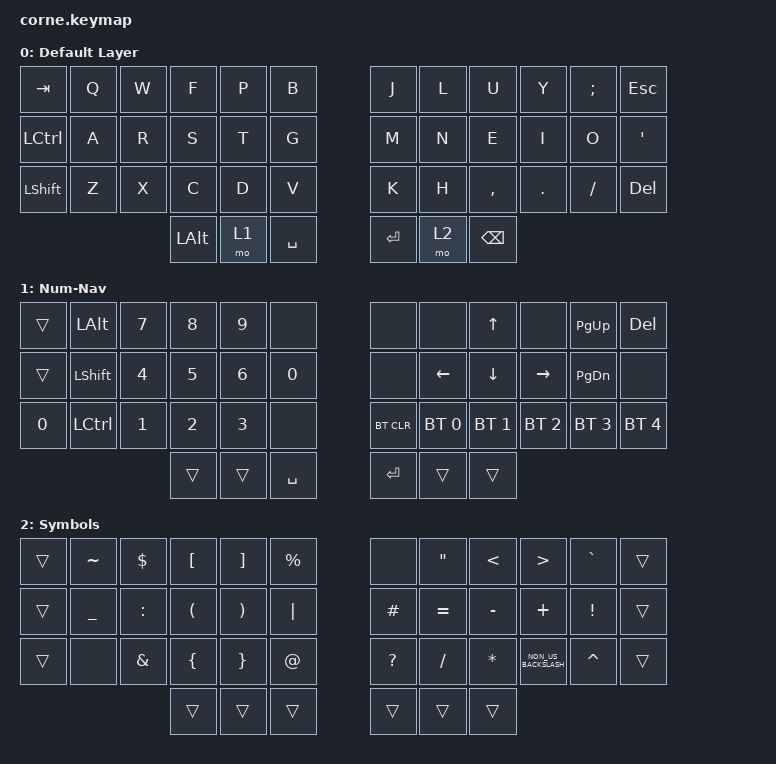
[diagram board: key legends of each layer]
/*
 * Copyright (c) 2020 The ZMK Contributors
 *
 * SPDX-License-Identifier: MIT
 */

#include <behaviors.dtsi>
#include <dt-bindings/zmk/bt.h>
#include <dt-bindings/zmk/keys.h>

/ {
    keymap {
        compatible = "zmk,keymap";

        default_layer {
            display-name = "Default Layer";

            // -----------------------------------------------------------------------------------------
            // |  TAB |  Q  |  W  |  E  |  R  |  T  |   |  Y  |  U   |  I  |  O  |  P  | BSPC |
            // | CTRL |  A  |  S  |  D  |  F  |  G  |   |  H  |  J   |  K  |  L  |  ;  |  '   |
            // | SHFT |  Z  |  X  |  C  |  V  |  B  |   |  N  |  M   |  ,  |  .  |  /  | ESC  |
            //                    | GUI | LWR | SPC |   | ENT | RSE  | ALT |

            bindings = <
&kp TAB    &kp Q  &kp W  &kp F         &kp P  &kp B        &kp J    &kp L  &kp U          &kp Y       &kp SEMICOLON  &kp ESCAPE
&kp LCTRL  &kp A  &kp R  &kp S         &kp T  &kp G        &kp M    &kp N  &kp E          &kp I       &kp O          &kp SQT
&kp LSHFT  &kp Z  &kp X  &kp C         &kp D  &kp V        &kp K    &kp H  &kp COMMA      &kp PERIOD  &kp SLASH      &kp DEL
                         &kp LEFT_ALT  &mo 1  &kp SPACE    &kp RET  &mo 2  &kp BACKSPACE
            >;
        };

        lower_layer {
            display-name = "Num-Nav";

            // -----------------------------------------------------------------------------------------
            // |  TAB |  1  |  2  |  3  |  4  |  5  |   |  6  |  7  |  8  |  9  |  0  | BSPC |
            // | BTCLR| BT1 | BT2 | BT3 | BT4 | BT5 |   | LFT | DWN |  UP | RGT |     |      |
            // | SHFT |     |     |     |     |     |   |     |     |     |     |     |      |
            //                    | GUI |     | SPC |   | ENT |     | ALT |

            bindings = <
&trans        &kp LEFT_ALT    &kp NUMBER_7  &kp NUMBER_8  &kp NUMBER_9  &none           &none       &none           &kp UP_ARROW    &none         &kp PAGE_UP    &kp DELETE
&trans        &kp LEFT_SHIFT  &kp NUMBER_4  &kp NUMBER_5  &kp NUMBER_6  &kp NUMBER_0    &none       &kp LEFT_ARROW  &kp DOWN_ARROW  &kp RIGHT     &kp PAGE_DOWN  &none
&kp NUMBER_0  &kp LCTRL       &kp NUMBER_1  &kp NUMBER_2  &kp NUMBER_3  &none           &bt BT_CLR  &bt BT_SEL 0    &bt BT_SEL 1    &bt BT_SEL 2  &bt BT_SEL 3   &bt BT_SEL 4
                                            &trans        &trans        &kp SPACE       &kp RET     &trans          &trans
            >;
        };

        raise_layer {
            display-name = "Symbols";

            // -----------------------------------------------------------------------------------------
            // |  TAB |  !  |  @  |  #  |  $  |  %  |   |  ^  |  &  |  *  |  (  |  )  | BSPC |
            // | CTRL |     |     |     |     |     |   |  -  |  =  |  [  |  ]  |  \  |  `   |
            // | SHFT |     |     |     |     |     |   |  _  |  +  |  {  |  }  | "|" |  ~   |
            //                    | GUI |     | SPC |   | ENT |     | ALT |

            bindings = <
&trans  &kp TILDE       &kp DOLLAR     &kp LEFT_BRACKET      &kp RIGHT_BRACKET      &kp PRCNT      &none         &kp DOUBLE_QUOTES  &kp LESS_THAN  &kp GREATER_THAN      &kp GRAVE        &trans
&trans  &kp UNDERSCORE  &kp COLON      &kp LEFT_PARENTHESIS  &kp RIGHT_PARENTHESIS  &kp PIPE       &kp HASH      &kp EQUAL          &kp MINUS      &kp PLUS              &kp EXCLAMATION  &trans
&trans  &none           &kp AMPERSAND  &kp LEFT_BRACE        &kp RIGHT_BRACE        &kp AT_SIGN    &kp QUESTION  &kp SLASH          &kp ASTERISK   &kp NON_US_BACKSLASH  &kp CARET        &trans
                                       &trans                &trans                 &trans         &trans        &trans             &trans
            >;
        };
    };
};
